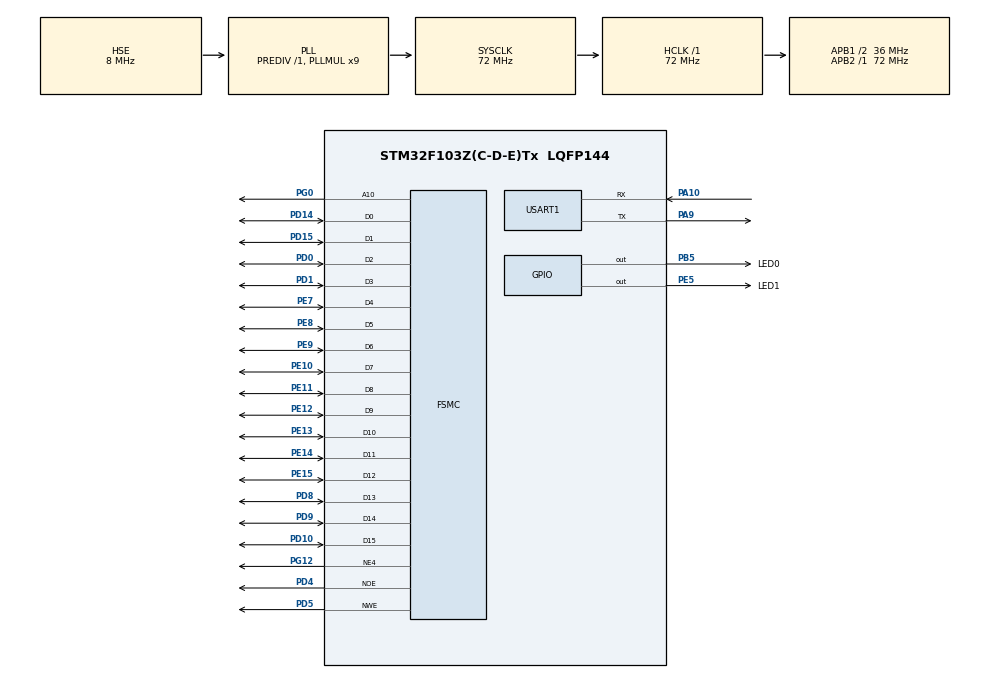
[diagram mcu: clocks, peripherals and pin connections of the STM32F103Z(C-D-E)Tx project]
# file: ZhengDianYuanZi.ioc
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FREERTOS.Tasks01=defaultTask,0,128,StartDefaultTask,Default,NULL,Dynamic,NULL,NULL
FREERTOS.configTOTAL_HEAP_SIZE=10240
FSMC.AddressSetupTime1=6
FSMC.BusTurnAroundDuration1=0
FSMC.DataSetupTime1=26
FSMC.ExtendedAddressSetupTime1=3
FSMC.ExtendedBusTurnAroundDuration1=0
FSMC.ExtendedDataSetupTime1=6
FSMC.ExtendedMode1=FSMC_EXTENDED_MODE_ENABLE
Mcu.Family=STM32F1
Mcu.Name=STM32F103Z(C-D-E)Tx
Mcu.Package=LQFP144
NVIC.PriorityGroup=NVIC_PRIORITYGROUP_4
OSC_IN.Mode=HSE-External-Oscillator
OSC_IN.Signal=RCC_OSC_IN
OSC_OUT.Mode=HSE-External-Oscillator
OSC_OUT.Signal=RCC_OSC_OUT
PA10.Mode=Asynchronous
PA10.Signal=USART1_RX
PA9.Mode=Asynchronous
PA9.Signal=USART1_TX
PB5.GPIO_Label=LED0
PB5.Signal=GPIO_Output
PC14-OSC32_IN.Mode=LSE-External-Oscillator
PC14-OSC32_IN.Signal=RCC_OSC32_IN
PC15-OSC32_OUT.Mode=LSE-External-Oscillator
PC15-OSC32_OUT.Signal=RCC_OSC32_OUT
PD0.Signal=FSMC_D2_DA2
PD1.Signal=FSMC_D3_DA3
PD10.Signal=FSMC_D15_DA15
PD14.Signal=FSMC_D0_DA0
PD15.Signal=FSMC_D1_DA1
PD4.Signal=FSMC_NOE
PD5.Signal=FSMC_NWE
PD8.Signal=FSMC_D13_DA13
PD9.Signal=FSMC_D14_DA14
PE10.Signal=FSMC_D7_DA7
PE11.Signal=FSMC_D8_DA8
PE12.Signal=FSMC_D9_DA9
PE13.Signal=FSMC_D10_DA10
PE14.Signal=FSMC_D11_DA11
PE15.Signal=FSMC_D12_DA12
PE5.GPIO_Label=LED1
PE5.Signal=GPIO_Output
PE7.Signal=FSMC_D4_DA4
PE8.Signal=FSMC_D5_DA5
PE9.Signal=FSMC_D6_DA6
PG0.Signal=FSMC_A10
PG12.Mode=NorPsramChipSelect4_1
PG12.Signal=FSMC_NE4
ProjectManager.HeapSize=0x100
ProjectManager.StackSize=0x100
ProjectManager.TargetToolchain=Makefile
RCC.AHBFreq_Value=72000000
RCC.APB1CLKDivider=RCC_HCLK_DIV2
RCC.APB1Freq_Value=36000000
RCC.APB1TimFreq_Value=72000000
RCC.APB2Freq_Value=72000000
RCC.APB2TimFreq_Value=72000000
RCC.HCLKFreq_Value=72000000
RCC.PLLMUL=RCC_PLL_MUL9
RCC.PLLSourceVirtual=RCC_PLLSOURCE_HSE
RCC.SYSCLKFreq_VALUE=72000000
RCC.SYSCLKSource=RCC_SYSCLKSOURCE_PLLCLK
RCC.USBFreq_Value=72000000
SH.FSMC_A10.0=FSMC_A10,A10_1
SH.FSMC_D0_DA0.0=FSMC_D0,16b-d1
SH.FSMC_D10_DA10.0=FSMC_D10,16b-d1
SH.FSMC_D11_DA11.0=FSMC_D11,16b-d1
SH.FSMC_D12_DA12.0=FSMC_D12,16b-d1
SH.FSMC_D13_DA13.0=FSMC_D13,16b-d1
SH.FSMC_D14_DA14.0=FSMC_D14,16b-d1
SH.FSMC_D15_DA15.0=FSMC_D15,16b-d1
SH.FSMC_D1_DA1.0=FSMC_D1,16b-d1
SH.FSMC_D2_DA2.0=FSMC_D2,16b-d1
SH.FSMC_D3_DA3.0=FSMC_D3,16b-d1
SH.FSMC_D4_DA4.0=FSMC_D4,16b-d1
SH.FSMC_D5_DA5.0=FSMC_D5,16b-d1
SH.FSMC_D6_DA6.0=FSMC_D6,16b-d1
SH.FSMC_D7_DA7.0=FSMC_D7,16b-d1
SH.FSMC_D8_DA8.0=FSMC_D8,16b-d1
SH.FSMC_D9_DA9.0=FSMC_D9,16b-d1
SH.FSMC_NOE.0=FSMC_NOE,Lcd1
SH.FSMC_NWE.0=FSMC_NWE,Lcd1
USART1.VirtualMode=VM_ASYNC
VP_FREERTOS_VS_CMSIS_V1.Mode=CMSIS_V1
VP_SYS_VS_ND.Mode=No_Debug
board=custom

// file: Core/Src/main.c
/* USER CODE BEGIN Header */
/**
  ******************************************************************************
  * @file           : main.c
  * @brief          : Main program body
  ******************************************************************************
  * @attention
  *
  * Copyright (c) 2025 STMicroelectronics.
  * All rights reserved.
  *
  * This software is licensed under terms that can be found in the LICENSE file
  * in the root directory of this software component.
  * If no LICENSE file comes with this software, it is provided AS-IS.
  *
  ******************************************************************************
  */
/* USER CODE END Header */
#include "main.h"
#include "cmsis_os.h"

/* USER CODE BEGIN Includes */
#include <stdio.h>
#include <stdlib.h>
#include "lcd.h"
#include "lvgl.h"
#include "lv_port_disp.h"
#include "lv_port_indev.h"
#include "custom.h"
#include "sram.h"
// #include "lv_demo_widgets.h"
/* USER CODE END Includes */

UART_HandleTypeDef huart1;

SRAM_HandleTypeDef hsram1;

osThreadId defaultTaskHandle;

void SystemClock_Config(void);
static void MX_GPIO_Init(void);
static void MX_USART1_UART_Init(void);
static void MX_FSMC_Init(void);
void StartDefaultTask(void const * argument);

/* USER CODE BEGIN 0 */
void lvglTask1ms(void const * argument){
  int32_t cnt = 0;

  while(1){
    lv_tick_inc(1); // 告诉LVGL：时间过了1ms
    osDelay(1);     // 延时1ms
    cnt++;
    cnt %= 1000;
    if(cnt == 0){
      HAL_GPIO_TogglePin(LED0_GPIO_Port, LED0_Pin);
    }
  }
}
void lvglTaskRun(void const * argument){
  int32_t cnt = 0;

  while(1){
    lv_task_handler(); // 让LVGL处理任务
    osDelay(5);         // 延时5ms
    cnt++;
    cnt %= 200;
    // if(cnt == 0){
    //   HAL_GPIO_TogglePin(LED1_GPIO_Port, LED1_Pin);
    // }
  }
}

#include "gui_guider.h"
#include "events_init.h"
#include "widgets_init.h"
lv_ui guider_ui;
/* USER CODE END 0 */

int main(void)
{

  /* MCU Configuration--------------------------------------------------------*/

  /* Reset of all peripherals, Initializes the Flash interface and the Systick. */
  HAL_Init();

  /* Configure the system clock */
  SystemClock_Config();

  /* Initialize all configured peripherals */
  MX_GPIO_Init();
  MX_USART1_UART_Init();
  MX_FSMC_Init();
  SRAM_Init();

  /* Create the thread(s) */
  /* definition and creation of defaultTask */
  // osThreadDef(defaultTask, StartDefaultTask, osPriorityNormal, 0, 128);
  // defaultTaskHandle = osThreadCreate(osThread(defaultTask), NULL);

  /* USER CODE BEGIN RTOS_THREADS */
  /* add threads, ... */
  osThreadDef(lgvlTaskInc, lvglTask1ms, osPriorityNormal, 0, 128);
  osThreadCreate(osThread(lgvlTaskInc), NULL);
  osThreadDef(lvglTaskRun, lvglTaskRun, osPriorityNormal, 0, 2*1024);
  osThreadCreate(osThread(lvglTaskRun), NULL);
  printf("RTOS Kernel Started\r\n");
  lv_init();               // 初始化LVGL库
  lv_port_disp_init();     // 初始化显示驱动
  lv_port_indev_init();   // 初始化输入设备驱动
  // 初始化lvgl demo
  // lv_demo_widgets();
  setup_ui(&guider_ui); // 初始化ui
  // init_keyboard(&guider_ui); // 初始化键盘
  // setup_scr_screen(&guider_ui); // 设置屏幕
  custom_init(&guider_ui);
  // LCD_Init();
  // POINT_COLOR=RED;
  // LCD_Clear(WHITE);
  // POINT_COLOR=RED;
  // LCD_ShowString(30,40,210,24,24,"WarShip STM32 ^_^");

  /* USER CODE END RTOS_THREADS */

  /* Start scheduler */
  osKernelStart();

  /* We should never get here as control is now taken by the scheduler */
  /* Infinite loop */
  while (1)
  {

  }
}

void SystemClock_Config(void)
{
  RCC_OscInitTypeDef RCC_OscInitStruct = {0};
  RCC_ClkInitTypeDef RCC_ClkInitStruct = {0};

  /** Initializes the RCC Oscillators according to the specified parameters
  * in the RCC_OscInitTypeDef structure.
  */
  RCC_OscInitStruct.OscillatorType = RCC_OSCILLATORTYPE_HSE;
  RCC_OscInitStruct.HSEState = RCC_HSE_ON;
  RCC_OscInitStruct.HSEPredivValue = RCC_HSE_PREDIV_DIV1;
  RCC_OscInitStruct.HSIState = RCC_HSI_ON;
  RCC_OscInitStruct.PLL.PLLState = RCC_PLL_ON;
  RCC_OscInitStruct.PLL.PLLSource = RCC_PLLSOURCE_HSE;
  RCC_OscInitStruct.PLL.PLLMUL = RCC_PLL_MUL9;
  if (HAL_RCC_OscConfig(&RCC_OscInitStruct) != HAL_OK)
  {
    Error_Handler();
  }

  /** Initializes the CPU, AHB and APB buses clocks
  */
  RCC_ClkInitStruct.ClockType = RCC_CLOCKTYPE_HCLK|RCC_CLOCKTYPE_SYSCLK
                              |RCC_CLOCKTYPE_PCLK1|RCC_CLOCKTYPE_PCLK2;
  RCC_ClkInitStruct.SYSCLKSource = RCC_SYSCLKSOURCE_PLLCLK;
  RCC_ClkInitStruct.AHBCLKDivider = RCC_SYSCLK_DIV1;
  RCC_ClkInitStruct.APB1CLKDivider = RCC_HCLK_DIV2;
  RCC_ClkInitStruct.APB2CLKDivider = RCC_HCLK_DIV1;

  if (HAL_RCC_ClockConfig(&RCC_ClkInitStruct, FLASH_LATENCY_2) != HAL_OK)
  {
    Error_Handler();
  }
}

static void MX_USART1_UART_Init(void)
{

  huart1.Instance = USART1;
  huart1.Init.BaudRate = 576000;
  huart1.Init.WordLength = UART_WORDLENGTH_8B;
  huart1.Init.StopBits = UART_STOPBITS_1;
  huart1.Init.Parity = UART_PARITY_NONE;
  huart1.Init.Mode = UART_MODE_TX_RX;
  huart1.Init.HwFlowCtl = UART_HWCONTROL_NONE;
  huart1.Init.OverSampling = UART_OVERSAMPLING_16;
  if (HAL_UART_Init(&huart1) != HAL_OK)
  {
    Error_Handler();
  }

}

static void MX_GPIO_Init(void)
{
  GPIO_InitTypeDef GPIO_InitStruct = {0};

  /* GPIO Ports Clock Enable */
  __HAL_RCC_GPIOE_CLK_ENABLE();
  __HAL_RCC_GPIOC_CLK_ENABLE();
  __HAL_RCC_GPIOG_CLK_ENABLE();
  __HAL_RCC_GPIOD_CLK_ENABLE();
  __HAL_RCC_GPIOA_CLK_ENABLE();
  __HAL_RCC_GPIOB_CLK_ENABLE();

  /*Configure GPIO pin Output Level */
  HAL_GPIO_WritePin(GPIOE, GPIO_PIN_5, GPIO_PIN_RESET);

  /*Configure GPIO pin Output Level */
  HAL_GPIO_WritePin(GPIOB, GPIO_PIN_5, GPIO_PIN_RESET);

  /*Configure GPIO pin : PE5 */
  GPIO_InitStruct.Pin = GPIO_PIN_5;
  GPIO_InitStruct.Mode = GPIO_MODE_OUTPUT_PP;
  GPIO_InitStruct.Pull = GPIO_NOPULL;
  GPIO_InitStruct.Speed = GPIO_SPEED_FREQ_LOW;
  HAL_GPIO_Init(GPIOE, &GPIO_InitStruct);

  /*Configure GPIO pin : PB5 */
  GPIO_InitStruct.Pin = GPIO_PIN_5;
  GPIO_InitStruct.Mode = GPIO_MODE_OUTPUT_PP;
  GPIO_InitStruct.Pull = GPIO_NOPULL;
  GPIO_InitStruct.Speed = GPIO_SPEED_FREQ_LOW;
  HAL_GPIO_Init(GPIOB, &GPIO_InitStruct);

}

/* FSMC initialization function */
static void MX_FSMC_Init(void)
{

  FSMC_NORSRAM_TimingTypeDef Timing = {0};
  FSMC_NORSRAM_TimingTypeDef ExtTiming = {0};

  /** Perform the SRAM1 memory initialization sequence
  */
  hsram1.Instance = FSMC_NORSRAM_DEVICE;
  hsram1.Extended = FSMC_NORSRAM_EXTENDED_DEVICE;
  /* hsram1.Init */
  hsram1.Init.NSBank = FSMC_NORSRAM_BANK4;
  hsram1.Init.DataAddressMux = FSMC_DATA_ADDRESS_MUX_DISABLE;
  hsram1.Init.MemoryType = FSMC_MEMORY_TYPE_SRAM;
  hsram1.Init.MemoryDataWidth = FSMC_NORSRAM_MEM_BUS_WIDTH_16;
  hsram1.Init.BurstAccessMode = FSMC_BURST_ACCESS_MODE_DISABLE;
  hsram1.Init.WaitSignalPolarity = FSMC_WAIT_SIGNAL_POLARITY_LOW;
  hsram1.Init.WrapMode = FSMC_WRAP_MODE_DISABLE;
  hsram1.Init.WaitSignalActive = FSMC_WAIT_TIMING_BEFORE_WS;
  hsram1.Init.WriteOperation = FSMC_WRITE_OPERATION_ENABLE;
  hsram1.Init.WaitSignal = FSMC_WAIT_SIGNAL_DISABLE;
  hsram1.Init.ExtendedMode = FSMC_EXTENDED_MODE_ENABLE;
  hsram1.Init.AsynchronousWait = FSMC_ASYNCHRONOUS_WAIT_DISABLE;
  hsram1.Init.WriteBurst = FSMC_WRITE_BURST_DISABLE;
  /* Timing */
  Timing.AddressSetupTime = 6;
  Timing.AddressHoldTime = 15;
  Timing.DataSetupTime = 26;
  Timing.BusTurnAroundDuration = 0;
  Timing.CLKDivision = 16;
  Timing.DataLatency = 17;
  Timing.AccessMode = FSMC_ACCESS_MODE_A;
  /* ExtTiming */
  ExtTiming.AddressSetupTime = 3;
  ExtTiming.AddressHoldTime = 15;
  ExtTiming.DataSetupTime = 6;
  ExtTiming.BusTurnAroundDuration = 0;
  ExtTiming.CLKDivision = 16;
  ExtTiming.DataLatency = 17;
  ExtTiming.AccessMode = FSMC_ACCESS_MODE_A;

  if (HAL_SRAM_Init(&hsram1, &Timing, &ExtTiming) != HAL_OK)
  {
    Error_Handler( );
  }

  /** Disconnect NADV
  */

  __HAL_AFIO_FSMCNADV_DISCONNECTED();

}

void StartDefaultTask(void const * argument)
{
  for(;;)
  {
    osDelay(1);
  }
}

void Error_Handler(void)
{
  __disable_irq();
  while (1)
  {
  }
}
